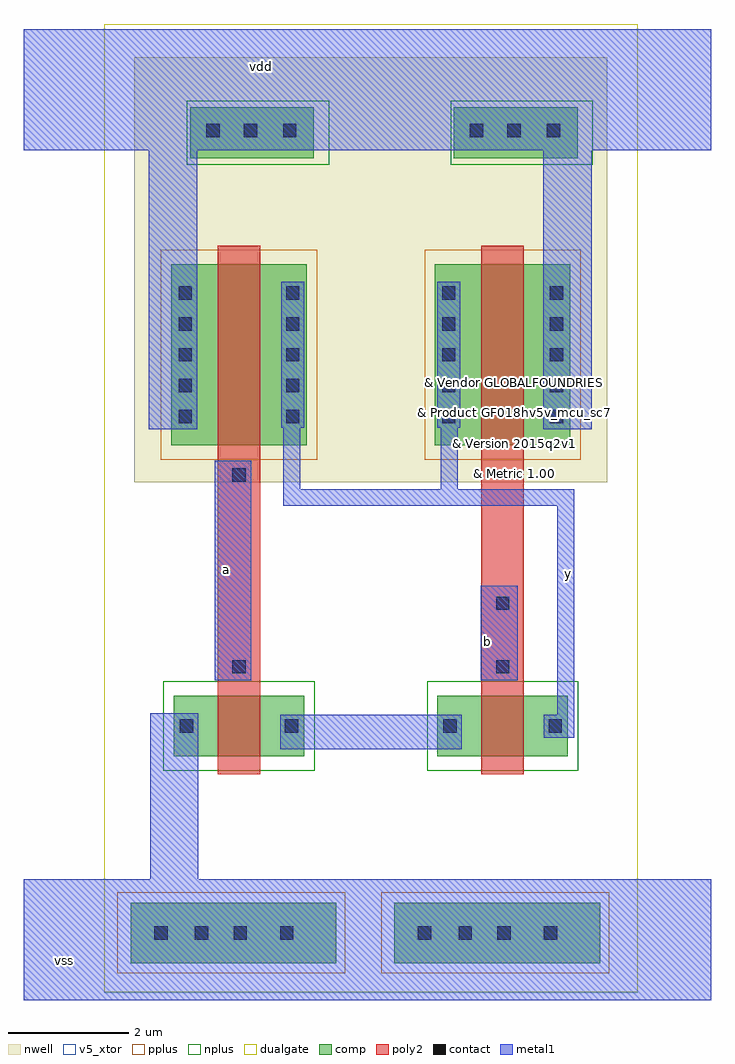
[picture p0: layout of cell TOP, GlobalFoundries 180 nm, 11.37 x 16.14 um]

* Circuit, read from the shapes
.subckt TOP a b vdd vss y
XM1 n1 a vss vss nfet_05v0 w=1u l=0.7u
XM2 y b n1 vss nfet_05v0 w=1u l=0.7u
XM3 y a vdd vdd pfet_05v0 w=3u l=0.7u
XM4 vdd b y vdd pfet_05v0 w=3u l=0.7u
.ends

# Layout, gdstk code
import gdstk
lib = gdstk.Library(unit=1e-6, precision=1e-08)
def R(c, l, rs):  # rectangles x0, y0, x1, y1
    for r in rs: c.add(gdstk.rectangle(r[:2], r[2:], *l))
def A(c, l, x, y, w, h, nx, ny, dx, dy):  # array of equal rectangles
    R(c, l, [(x+i*dx, y+j*dy, x+i*dx+w, y+j*dy+h) for i in range(nx) for j in range(ny)])
nwell = (21, 0)
comp = (22, 0)
poly2 = (30, 0)
pplus = (31, 0)
nplus = (32, 0)
contact = (33, 0)
metal1 = (34, 0)
dualgate = (55, 0)
v5_xtor = (112, 1)

top = lib.new_cell('TOP')
R(top, nwell, [(-1.49,-0.29,3.21,6.74), (2.87,-0.29,6.33,6.74)])
R(top, comp, [(-1.55,-8.24,1.85,-7.24), (2.81,-8.24,6.21,-7.24), (-0.84,-4.82,-0.42,-3.82), (-0.42,-4.82,0.9,-3.82), (0.9,-4.82,1.32,-3.82), (3.52,-4.82,3.94,-3.82), (3.94,-4.82,5.26,-3.82), (5.26,-4.82,5.68,-3.82), (-0.88,0.32,-0.42,3.32), (-0.42,0.32,0.9,3.32), (0.9,0.32,1.36,3.32), (3.48,0.32,3.94,3.32), (3.94,0.32,5.26,3.32), (5.26,0.32,5.72,3.32), (-0.57,5.07,1.48,5.91), (3.79,5.07,5.84,5.91)])
R(top, poly2, [(-0.11,-5.12,0.59,-3.52), (4.25,-5.12,4.95,-3.52), (-0.11,-3.52,0.59,-3.16), (4.25,-3.52,4.95,-3.16), (-0.11,-3.42,0.59,0.37), (4.25,-3.42,4.95,0.37), (-0.11,-0.36,0.59,0.02), (4.25,-0.36,4.95,0.02), (-0.11,0.02,0.59,3.62), (4.25,0.02,4.95,3.62)])
R(top, pplus, [(-1.77,-8.41,2,-7.07), (2.59,-8.41,6.36,-7.07), (-1.05,0.08,1.53,3.56), (3.31,0.08,5.89,3.56)])
R(top, nplus, [(-1.01,-5.06,1.49,-3.58), (3.35,-5.06,5.85,-3.58), (-0.62,4.96,1.73,6.02), (3.74,4.96,6.09,6.02)])
A(top, contact, -0.76, 0.69, 0.22, 0.22, 1, 5, 0, 0.51)
A(top, contact, 1.02, 0.69, 0.22, 0.22, 1, 5, 0, 0.51)
A(top, contact, 3.6, 0.69, 0.22, 0.22, 1, 5, 0, 0.51)
A(top, contact, 5.38, 0.69, 0.22, 0.22, 1, 5, 0, 0.51)
R(top, contact, [(-1.16,-7.85,-0.94,-7.63), (-0.49,-7.85,-0.27,-7.63), (-0.49,-7.85,-0.27,-7.63), (0.15,-7.85,0.37,-7.63), (0.92,-7.85,1.14,-7.63), (3.2,-7.85,3.42,-7.63), (3.87,-7.85,4.09,-7.63), (3.87,-7.85,4.09,-7.63), (4.51,-7.85,4.73,-7.63), (5.28,-7.85,5.5,-7.63), (-0.74,-4.43,-0.52,-4.21), (1,-4.43,1.22,-4.21), (3.62,-4.43,3.84,-4.21), (5.36,-4.43,5.58,-4.21), (0.13,-3.45,0.35,-3.23), (4.49,-3.45,4.71,-3.23), (4.49,-2.4,4.71,-2.18), (0.13,-0.28,0.35,-0.06), (-0.3,5.42,-0.08,5.64), (0.32,5.42,0.54,5.64), (0.97,5.42,1.19,5.64), (4.06,5.42,4.28,5.64), (4.68,5.42,4.9,5.64), (5.33,5.42,5.55,5.64)])
R(top, metal1, [(-1.24,-7.93,-0.86,-7.55), (3.12,-7.93,3.5,-7.55), (0.92,-4.7,3.92,-4.13), (-0.82,-4.51,-0.44,-4.13), (0.92,-4.51,1.3,-4.13), (3.54,-4.51,3.92,-4.13), (5.28,-4.51,5.66,-4.13), (4.24,-3.56,4.85,-2), (0.05,-3.53,0.43,-3.15), (4.41,-3.53,4.79,-3.15), (4.41,-2.48,4.79,-2.1), (0.05,-0.36,0.43,0.02), (-0.84,0.61,-0.46,3.03), (0.94,0.61,1.32,3.03), (3.52,0.61,3.9,3.03), (5.3,0.61,5.68,3.03)])
R(top, dualgate, [(-1.99,-8.72,2.47,7.29), (2.37,-8.72,6.83,7.29), (-1.26,-5.53,1.74,-2.74), (3.1,-5.53,6.1,-2.74), (-1.3,-0.77,1.78,4.03), (3.06,-0.77,6.14,4.03)])
R(top, v5_xtor, [(-1.99,-8.73,2.47,7.29), (2.37,-8.73,6.83,7.29), (-1.26,-5.53,1.74,-2.74), (3.1,-5.53,6.1,-2.74), (-1.3,-0.77,1.78,4.03), (3.06,-0.77,6.14,4.03)])
top.add(gdstk.FlexPath([(-3.32,6.2),(8.05,6.2)], 2, ends="flush", simple_path=True, layer=34, datatype=0))  # metal1
top.add(gdstk.FlexPath([(-3.32,-7.85),(8.05,-7.85)], 2, ends="flush", simple_path=True, layer=34, datatype=0))  # metal1
top.add(gdstk.FlexPath([(-0.83,-4.11),(-0.83,-7.02)], 0.8, ends="flush", simple_path=True, layer=34, datatype=0))  # metal1
top.add(gdstk.FlexPath([(-0.85,0.59),(-0.85,5.61)], 0.8, ends="flush", simple_path=True, layer=34, datatype=0))  # metal1
top.add(gdstk.FlexPath([(1.11,1.02),(1.11,-0.54),(5.64,-0.54)], 0.28, ends="flush", simple_path=True, layer=34, datatype=0))  # metal1
top.add(gdstk.FlexPath([(0.14,-3.56),(0.14,0.07)], 0.6, ends="flush", simple_path=True, layer=34, datatype=0))  # metal1
top.add(gdstk.FlexPath([(5.67,0.59),(5.67,5.61)], 0.8, ends="flush", simple_path=True, layer=34, datatype=0))  # metal1
top.add(gdstk.FlexPath([(5.64,-0.4),(5.64,-4.51)], 0.28, ends="flush", simple_path=True, layer=34, datatype=0))  # metal1
top.add(gdstk.FlexPath([(3.72,0.9),(3.72,-0.49)], 0.28, ends="flush", simple_path=True, layer=34, datatype=0))  # metal1
top.add(gdstk.Label('vdd', (0.62,6.58), layer=34, texttype=10))
top.add(gdstk.Label('vss', (-2.65,-8.2), layer=34, texttype=10))
top.add(gdstk.Label('y', (5.69,-1.8), layer=34, texttype=10))
top.add(gdstk.Label('b', (4.35,-2.92), layer=34, texttype=10))
top.add(gdstk.Label('a', (0.04,-1.73), layer=34, texttype=10))
top.add(gdstk.Label('& Vendor GLOBALFOUNDRIES', (4.79,1.36), layer=63, texttype=63))
top.add(gdstk.Label('& Product GF018hv5v_mcu_sc7', (4.79,0.86), layer=63, texttype=63))
top.add(gdstk.Label('& Version 2015q2v1', (4.79,0.36), layer=63, texttype=63))
top.add(gdstk.Label('& Metric 1.00', (4.79,-0.14), layer=63, texttype=63))

lib.write_gds('TOP.gds')
